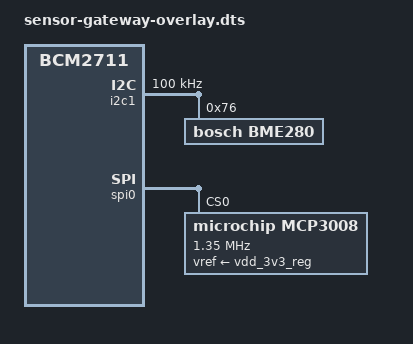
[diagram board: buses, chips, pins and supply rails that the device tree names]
/dts-v1/;
/plugin/;

/ {
    compatible = "brcm,bcm2711";

    fragment@0 {
        target = <&i2c1>;
        __overlay__ {
            #address-cells = <1>;
            #size-cells    = <0>;
            status         = "okay";
            clock-frequency = <100000>; /* 100 kHz standard mode */

            bme280@76 {
                compatible    = "bosch,bme280";
                reg           = <0x76>;
                status        = "okay";
            };
        };
    };

    fragment@1 {
        target = <&spi0>;
        __overlay__ {
            #address-cells = <1>;
            #size-cells    = <0>;
            status         = "okay";

            mcp3008@0 {
                compatible        = "microchip,mcp3008";
                reg               = <0>;
                spi-max-frequency = <1350000>;
                vref-supply       = <&vdd_3v3_reg>;
                status            = "okay";
            };
        };
    };
};
